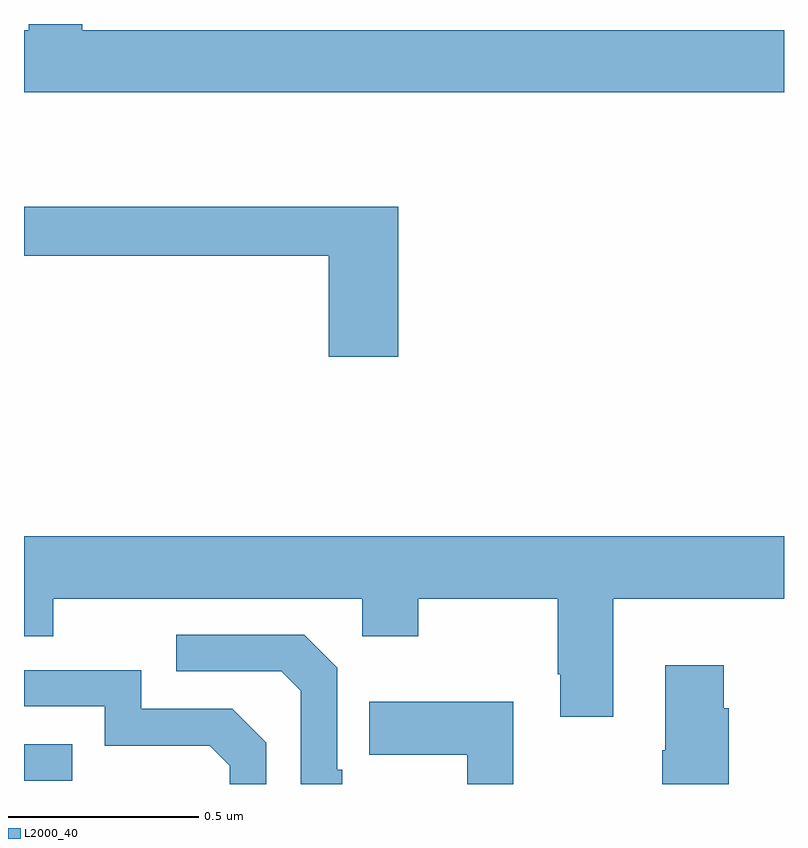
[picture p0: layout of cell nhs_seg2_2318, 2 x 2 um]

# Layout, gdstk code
import gdstk
lib = gdstk.Library(unit=1e-6, precision=1e-09)
def R(c, l, rs):  # rectangles x0, y0, x1, y1
    for r in rs: c.add(gdstk.rectangle(r[:2], r[2:], *l))
def P(c, l, *ps):  # polygons
    for p in ps: c.add(gdstk.Polygon(p, *l))
L2000_40 = (2000, 40)

nhs_seg2_2318 = lib.new_cell('nhs_seg2_2318')
R(nhs_seg2_2318, L2000_40, [(139,661.809,139.127,661.905)])
P(nhs_seg2_2318, L2000_40, [(141,663.784),(139.153,663.784),(139.153,663.8),(139.013,663.8),(139.013,663.784),(139,663.784),(139,663.62),(141,663.62)],
  [(139.985,663.319),(139,663.319),(139,663.19),(139.802,663.19),(139.802,662.925),(139.985,662.925)],
  [(140.551,662.288),(141,662.288),(141,662.452),(139,662.452),(139,662.189),(139.077,662.189),(139.077,662.288),(139.89,662.288),(139.89,662.189),(140.037,662.189),(140.037,662.288),(140.404,662.288),(140.404,662.089),(140.411,662.089),(140.411,661.977),(140.551,661.977)],
  [(139.837,661.837),(139.824,661.837),(139.824,662.106),(139.737,662.193),(139.401,662.193),(139.401,662.097),(139.677,662.097),(139.728,662.046),(139.728,661.8),(139.837,661.8)],
  [(140.855,662),(140.842,662),(140.842,662.113),(140.687,662.113),(140.687,661.889),(140.68,661.889),(140.68,661.8),(140.855,661.8)],
  [(139.638,661.908),(139.548,661.998),(139.308,661.998),(139.308,662.1),(139,662.1),(139,662.004),(139.212,662.004),(139.212,661.901),(139.489,661.901),(139.542,661.848),(139.542,661.8),(139.638,661.8)],
  [(140.287,662.017),(139.909,662.017),(139.909,661.877),(140.166,661.877),(140.166,661.8),(140.287,661.8)])

lib.write_gds('nhs_seg2_2318.gds')
